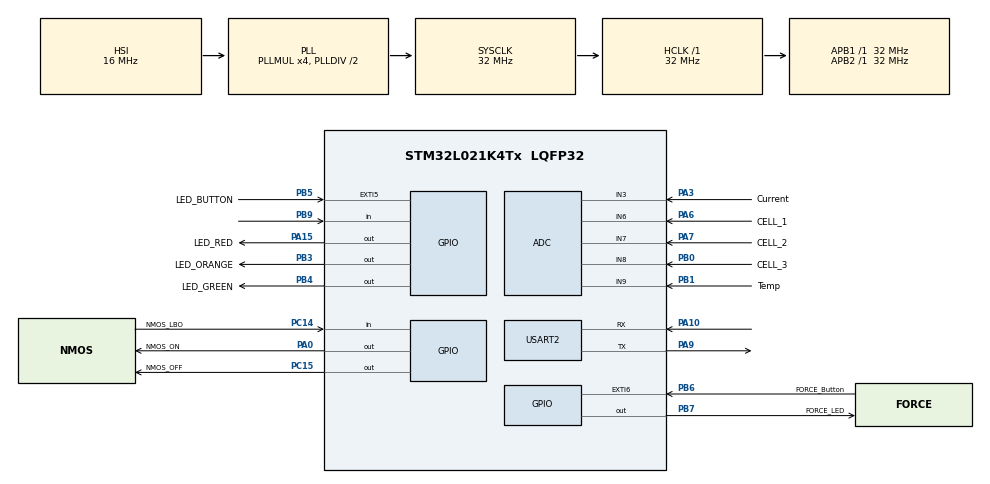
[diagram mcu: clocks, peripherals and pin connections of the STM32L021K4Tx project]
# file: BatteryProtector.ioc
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ADC.ContinuousConvMode=ENABLE
ADC.DMAContinuousRequests=ENABLE
ADC.SamplingTime=ADC_SAMPLETIME_39CYCLES_5
Dma.ADC.0.Direction=DMA_PERIPH_TO_MEMORY
Dma.ADC.0.Instance=DMA1_Channel1
Dma.ADC.0.MemDataAlignment=DMA_MDATAALIGN_WORD
Dma.ADC.0.MemInc=DMA_MINC_ENABLE
Dma.ADC.0.Mode=DMA_CIRCULAR
Dma.ADC.0.PeriphDataAlignment=DMA_PDATAALIGN_WORD
Dma.ADC.0.PeriphInc=DMA_PINC_DISABLE
Dma.ADC.0.Priority=DMA_PRIORITY_LOW
Dma.Request0=ADC
Mcu.Family=STM32L0
Mcu.Name=STM32L021K4Tx
Mcu.Package=LQFP32
NVIC.DMA1_Channel1_IRQn=true\:0\:0\:false\:false\:true\:false\:true
NVIC.EXTI4_15_IRQn=true\:0\:0\:false\:false\:true\:true\:true
NVIC.USART2_IRQn=true\:0\:0\:false\:false\:true\:true\:true
PA0-CK_IN.GPIO_Label=NMOS_ON
PA0-CK_IN.GPIO_ModeDefaultOutputPP=GPIO_MODE_OUTPUT_OD
PA0-CK_IN.Signal=GPIO_Output
PA10.Mode=Asynchronous
PA10.Signal=USART2_RX
PA13.Mode=Serial_Wire
PA13.Signal=SYS_SWDIO
PA14.Mode=Serial_Wire
PA14.Signal=SYS_SWCLK
PA15.GPIO_Label=LED_RED
PA15.Signal=GPIO_Output
PA3.GPIO_Label=Current
PA3.Mode=IN3
PA3.Signal=ADC_IN3
PA6.GPIO_Label=CELL_1
PA6.Mode=IN6
PA6.Signal=ADC_IN6
PA7.GPIO_Label=CELL_2
PA7.Mode=IN7
PA7.Signal=ADC_IN7
PA9.Mode=Asynchronous
PA9.Signal=USART2_TX
PB0.GPIO_Label=CELL_3
PB0.Mode=IN8
PB0.Signal=ADC_IN8
PB1.GPIO_Label=Temp
PB1.Mode=IN9
PB1.Signal=ADC_IN9
PB3.GPIO_Label=LED_ORANGE
PB3.Signal=GPIO_Output
PB4.GPIO_Label=LED_GREEN
PB4.Signal=GPIO_Output
PB5.GPIO_Label=LED_BUTTON
PB5.GPIO_ModeDefaultEXTI=GPIO_MODE_IT_RISING_FALLING
PB5.Signal=GPXTI5
PB6.GPIO_Label=FORCE_Button
PB6.GPIO_ModeDefaultEXTI=GPIO_MODE_IT_RISING_FALLING
PB6.Signal=GPXTI6
PB7.GPIO_Label=FORCE_LED
PB7.Signal=GPIO_Output
PB9-BOOT0.Signal=GPIO_Input
PC14-OSC32_IN.GPIO_Label=NMOS_LBO
PC14-OSC32_IN.GPIO_PuPd=GPIO_PULLUP
PC14-OSC32_IN.Signal=GPIO_Input
PC15-OSC32_OUT.GPIO_Label=NMOS_OFF
PC15-OSC32_OUT.GPIO_ModeDefaultOutputPP=GPIO_MODE_OUTPUT_OD
PC15-OSC32_OUT.Signal=GPIO_Output
ProjectManager.HeapSize=0x200
ProjectManager.StackSize=0x400
ProjectManager.TargetToolchain=SW4STM32
RCC.AHBFreq_Value=32000000
RCC.APB1Freq_Value=32000000
RCC.APB1TimFreq_Value=32000000
RCC.APB2Freq_Value=32000000
RCC.APB2TimFreq_Value=32000000
RCC.HCLKFreq_Value=32000000
RCC.HSE_VALUE=8000000
RCC.HSI16_VALUE=16000000
RCC.HSI_VALUE=16000000
RCC.LSE_VALUE=32768
RCC.MSI_VALUE=2097000
RCC.PLLMUL=RCC_PLLMUL_4
RCC.SYSCLKFreq_VALUE=32000000
RCC.SYSCLKSource=RCC_SYSCLKSOURCE_PLLCLK
RCC.VCOOutputFreq_Value=64000000
USART2.VirtualMode-Asynchronous=VM_ASYNC
board=custom

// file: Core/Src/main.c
/* USER CODE BEGIN Header */
/**
  ******************************************************************************
  * @file           : main.c
  * @brief          : Main program body
  ******************************************************************************
  * @attention
  *
  * <h2><center>&copy; Copyright (c) 2021 STMicroelectronics.
  * All rights reserved.</center></h2>
  *
  * This software component is licensed by ST under BSD 3-Clause license,
  * the "License"; You may not use this file except in compliance with the
  * License. You may obtain a copy of the License at:
  *                        opensource.org/licenses/BSD-3-Clause
  *
  ******************************************************************************
  */
/* USER CODE END Header */
#include "main.h"

/* USER CODE BEGIN Includes */
#include "batProtect.h"
/* USER CODE END Includes */

ADC_HandleTypeDef hadc;
DMA_HandleTypeDef hdma_adc;

UART_HandleTypeDef huart2;

void SystemClock_Config(void);
static void MX_GPIO_Init(void);
static void MX_DMA_Init(void);
static void MX_ADC_Init(void);
static void MX_USART2_UART_Init(void);
/* USER CODE BEGIN PFP */

char rx_buff[1];
uint32_t ADCvalues[5];

/*
 * 1 = EMPTY
 * 2 = LOW
 * 3 = GOOD
 */
char BATTERY_STATE = 1;

/*
 *  0 = normal
 *  1 = Open NMOS
 */
char NMOS_SWITCH = 0;
/* USER CODE END PFP */

int main(void)
{

  /* MCU Configuration--------------------------------------------------------*/

  /* Reset of all peripherals, Initializes the Flash interface and the Systick. */
  HAL_Init();

  /* Configure the system clock */
  SystemClock_Config();

  /* Initialize all configured peripherals */
  MX_GPIO_Init();
  MX_DMA_Init();
  MX_ADC_Init();
  MX_USART2_UART_Init();
  /* USER CODE BEGIN 2 */
  HAL_GPIO_WritePin(LED_RED_GPIO_Port,LED_RED_Pin, GPIO_PIN_SET);
  HAL_GPIO_WritePin(LED_ORANGE_GPIO_Port,LED_ORANGE_Pin, GPIO_PIN_SET);
  HAL_GPIO_WritePin(LED_GREEN_GPIO_Port,LED_GREEN_Pin, GPIO_PIN_SET);

  HAL_ADC_Start_DMA(&hadc,ADCvalues, 5);

  setGate(1);
  while(1)
  {
	  debug_adc(2);
	  HAL_Delay(500);
  }
  /* USER CODE END 2 */

  /* Infinite loop */
  while (1)
  {
	Balancer();
	HAL_Delay(100);
	current();
	HAL_Delay(100);
	temperature();
	HAL_Delay(100);
  }
}

void SystemClock_Config(void)
{
  RCC_OscInitTypeDef RCC_OscInitStruct = {0};
  RCC_ClkInitTypeDef RCC_ClkInitStruct = {0};
  RCC_PeriphCLKInitTypeDef PeriphClkInit = {0};

  /** Configure the main internal regulator output voltage
  */
  __HAL_PWR_VOLTAGESCALING_CONFIG(PWR_REGULATOR_VOLTAGE_SCALE1);
  /** Initializes the RCC Oscillators according to the specified parameters
  * in the RCC_OscInitTypeDef structure.
  */
  RCC_OscInitStruct.OscillatorType = RCC_OSCILLATORTYPE_HSI;
  RCC_OscInitStruct.HSIState = RCC_HSI_ON;
  RCC_OscInitStruct.HSICalibrationValue = RCC_HSICALIBRATION_DEFAULT;
  RCC_OscInitStruct.PLL.PLLState = RCC_PLL_ON;
  RCC_OscInitStruct.PLL.PLLSource = RCC_PLLSOURCE_HSI;
  RCC_OscInitStruct.PLL.PLLMUL = RCC_PLLMUL_4;
  RCC_OscInitStruct.PLL.PLLDIV = RCC_PLLDIV_2;
  if (HAL_RCC_OscConfig(&RCC_OscInitStruct) != HAL_OK)
  {
    Error_Handler();
  }
  /** Initializes the CPU, AHB and APB buses clocks
  */
  RCC_ClkInitStruct.ClockType = RCC_CLOCKTYPE_HCLK|RCC_CLOCKTYPE_SYSCLK
                              |RCC_CLOCKTYPE_PCLK1|RCC_CLOCKTYPE_PCLK2;
  RCC_ClkInitStruct.SYSCLKSource = RCC_SYSCLKSOURCE_PLLCLK;
  RCC_ClkInitStruct.AHBCLKDivider = RCC_SYSCLK_DIV1;
  RCC_ClkInitStruct.APB1CLKDivider = RCC_HCLK_DIV1;
  RCC_ClkInitStruct.APB2CLKDivider = RCC_HCLK_DIV1;

  if (HAL_RCC_ClockConfig(&RCC_ClkInitStruct, FLASH_LATENCY_1) != HAL_OK)
  {
    Error_Handler();
  }
  PeriphClkInit.PeriphClockSelection = RCC_PERIPHCLK_USART2;
  PeriphClkInit.Usart2ClockSelection = RCC_USART2CLKSOURCE_PCLK1;
  if (HAL_RCCEx_PeriphCLKConfig(&PeriphClkInit) != HAL_OK)
  {
    Error_Handler();
  }
}

static void MX_ADC_Init(void)
{

  ADC_ChannelConfTypeDef sConfig = {0};

  /** Configure the global features of the ADC (Clock, Resolution, Data Alignment and number of conversion)
  */
  hadc.Instance = ADC1;
  hadc.Init.OversamplingMode = DISABLE;
  hadc.Init.ClockPrescaler = ADC_CLOCK_SYNC_PCLK_DIV2;
  hadc.Init.Resolution = ADC_RESOLUTION_12B;
  hadc.Init.SamplingTime = ADC_SAMPLETIME_39CYCLES_5;
  hadc.Init.ScanConvMode = ADC_SCAN_DIRECTION_FORWARD;
  hadc.Init.DataAlign = ADC_DATAALIGN_RIGHT;
  hadc.Init.ContinuousConvMode = ENABLE;
  hadc.Init.DiscontinuousConvMode = DISABLE;
  hadc.Init.ExternalTrigConvEdge = ADC_EXTERNALTRIGCONVEDGE_NONE;
  hadc.Init.ExternalTrigConv = ADC_SOFTWARE_START;
  hadc.Init.DMAContinuousRequests = ENABLE;
  hadc.Init.EOCSelection = ADC_EOC_SINGLE_CONV;
  hadc.Init.Overrun = ADC_OVR_DATA_PRESERVED;
  hadc.Init.LowPowerAutoWait = DISABLE;
  hadc.Init.LowPowerFrequencyMode = DISABLE;
  hadc.Init.LowPowerAutoPowerOff = DISABLE;
  if (HAL_ADC_Init(&hadc) != HAL_OK)
  {
    Error_Handler();
  }
  /** Configure for the selected ADC regular channel to be converted.
  */
  sConfig.Channel = ADC_CHANNEL_3;
  sConfig.Rank = ADC_RANK_CHANNEL_NUMBER;
  if (HAL_ADC_ConfigChannel(&hadc, &sConfig) != HAL_OK)
  {
    Error_Handler();
  }
  /** Configure for the selected ADC regular channel to be converted.
  */
  sConfig.Channel = ADC_CHANNEL_6;
  if (HAL_ADC_ConfigChannel(&hadc, &sConfig) != HAL_OK)
  {
    Error_Handler();
  }
  /** Configure for the selected ADC regular channel to be converted.
  */
  sConfig.Channel = ADC_CHANNEL_7;
  if (HAL_ADC_ConfigChannel(&hadc, &sConfig) != HAL_OK)
  {
    Error_Handler();
  }
  /** Configure for the selected ADC regular channel to be converted.
  */
  sConfig.Channel = ADC_CHANNEL_8;
  if (HAL_ADC_ConfigChannel(&hadc, &sConfig) != HAL_OK)
  {
    Error_Handler();
  }
  /** Configure for the selected ADC regular channel to be converted.
  */
  sConfig.Channel = ADC_CHANNEL_9;
  if (HAL_ADC_ConfigChannel(&hadc, &sConfig) != HAL_OK)
  {
    Error_Handler();
  }

}

static void MX_USART2_UART_Init(void)
{

  huart2.Instance = USART2;
  huart2.Init.BaudRate = 115200;
  huart2.Init.WordLength = UART_WORDLENGTH_8B;
  huart2.Init.StopBits = UART_STOPBITS_1;
  huart2.Init.Parity = UART_PARITY_NONE;
  huart2.Init.Mode = UART_MODE_TX_RX;
  huart2.Init.HwFlowCtl = UART_HWCONTROL_NONE;
  huart2.Init.OverSampling = UART_OVERSAMPLING_16;
  huart2.Init.OneBitSampling = UART_ONE_BIT_SAMPLE_DISABLE;
  huart2.AdvancedInit.AdvFeatureInit = UART_ADVFEATURE_NO_INIT;
  if (HAL_UART_Init(&huart2) != HAL_OK)
  {
    Error_Handler();
  }

}

static void MX_DMA_Init(void)
{

  /* DMA controller clock enable */
  __HAL_RCC_DMA1_CLK_ENABLE();

  /* DMA interrupt init */
  /* DMA1_Channel1_IRQn interrupt configuration */
  HAL_NVIC_SetPriority(DMA1_Channel1_IRQn, 0, 0);
  HAL_NVIC_EnableIRQ(DMA1_Channel1_IRQn);

}

static void MX_GPIO_Init(void)
{
  GPIO_InitTypeDef GPIO_InitStruct = {0};

  /* GPIO Ports Clock Enable */
  __HAL_RCC_GPIOC_CLK_ENABLE();
  __HAL_RCC_GPIOA_CLK_ENABLE();
  __HAL_RCC_GPIOB_CLK_ENABLE();

  /*Configure GPIO pin Output Level */
  HAL_GPIO_WritePin(NMOS_OFF_GPIO_Port, NMOS_OFF_Pin, GPIO_PIN_RESET);

  /*Configure GPIO pin Output Level */
  HAL_GPIO_WritePin(GPIOA, NMOS_ON_Pin|LED_RED_Pin, GPIO_PIN_RESET);

  /*Configure GPIO pin Output Level */
  HAL_GPIO_WritePin(GPIOB, LED_ORANGE_Pin|LED_GREEN_Pin|FORCE_LED_Pin, GPIO_PIN_RESET);

  /*Configure GPIO pin : NMOS_LBO_Pin */
  GPIO_InitStruct.Pin = NMOS_LBO_Pin;
  GPIO_InitStruct.Mode = GPIO_MODE_INPUT;
  GPIO_InitStruct.Pull = GPIO_PULLUP;
  HAL_GPIO_Init(NMOS_LBO_GPIO_Port, &GPIO_InitStruct);

  /*Configure GPIO pin : NMOS_OFF_Pin */
  GPIO_InitStruct.Pin = NMOS_OFF_Pin;
  GPIO_InitStruct.Mode = GPIO_MODE_OUTPUT_OD;
  GPIO_InitStruct.Pull = GPIO_NOPULL;
  GPIO_InitStruct.Speed = GPIO_SPEED_FREQ_LOW;
  HAL_GPIO_Init(NMOS_OFF_GPIO_Port, &GPIO_InitStruct);

  /*Configure GPIO pin : NMOS_ON_Pin */
  GPIO_InitStruct.Pin = NMOS_ON_Pin;
  GPIO_InitStruct.Mode = GPIO_MODE_OUTPUT_OD;
  GPIO_InitStruct.Pull = GPIO_NOPULL;
  GPIO_InitStruct.Speed = GPIO_SPEED_FREQ_LOW;
  HAL_GPIO_Init(NMOS_ON_GPIO_Port, &GPIO_InitStruct);

  /*Configure GPIO pin : LED_RED_Pin */
  GPIO_InitStruct.Pin = LED_RED_Pin;
  GPIO_InitStruct.Mode = GPIO_MODE_OUTPUT_PP;
  GPIO_InitStruct.Pull = GPIO_NOPULL;
  GPIO_InitStruct.Speed = GPIO_SPEED_FREQ_LOW;
  HAL_GPIO_Init(LED_RED_GPIO_Port, &GPIO_InitStruct);

  /*Configure GPIO pins : LED_ORANGE_Pin LED_GREEN_Pin FORCE_LED_Pin */
  GPIO_InitStruct.Pin = LED_ORANGE_Pin|LED_GREEN_Pin|FORCE_LED_Pin;
  GPIO_InitStruct.Mode = GPIO_MODE_OUTPUT_PP;
  GPIO_InitStruct.Pull = GPIO_NOPULL;
  GPIO_InitStruct.Speed = GPIO_SPEED_FREQ_LOW;
  HAL_GPIO_Init(GPIOB, &GPIO_InitStruct);

  /*Configure GPIO pins : LED_BUTTON_Pin FORCE_Button_Pin */
  GPIO_InitStruct.Pin = LED_BUTTON_Pin|FORCE_Button_Pin;
  GPIO_InitStruct.Mode = GPIO_MODE_IT_RISING_FALLING;
  GPIO_InitStruct.Pull = GPIO_NOPULL;
  HAL_GPIO_Init(GPIOB, &GPIO_InitStruct);

  /*Configure GPIO pin : PB9 */
  GPIO_InitStruct.Pin = GPIO_PIN_9;
  GPIO_InitStruct.Mode = GPIO_MODE_INPUT;
  GPIO_InitStruct.Pull = GPIO_NOPULL;
  HAL_GPIO_Init(GPIOB, &GPIO_InitStruct);

  /* EXTI interrupt init*/
  HAL_NVIC_SetPriority(EXTI4_15_IRQn, 0, 0);
  HAL_NVIC_EnableIRQ(EXTI4_15_IRQn);

}

/* USER CODE BEGIN 4 */
void HAL_GPIO_EXTI_Callback(uint16_t GPIO_Pin)
{
	if(GPIO_Pin == FORCE_Button_Pin)
	{
		if(HAL_GPIO_ReadPin(FORCE_Button_GPIO_Port,FORCE_Button_Pin))
		{
			NMOS_SWITCH = 1;
			setGate(NMOS_SWITCH);
			HAL_GPIO_WritePin(FORCE_LED_GPIO_Port,FORCE_LED_Pin,GPIO_PIN_SET);

		}
		else
		{
			NMOS_SWITCH = 0;
			setGate(NMOS_SWITCH);
			HAL_GPIO_WritePin(FORCE_LED_GPIO_Port,FORCE_LED_Pin,GPIO_PIN_RESET);
		}
	}
	else if(GPIO_Pin == LED_BUTTON_Pin)
	{
		if(HAL_GPIO_ReadPin(LED_BUTTON_GPIO_Port,LED_BUTTON_Pin))
		{
			LED_Feedback(BATTERY_STATE);
		}
		else
		{
			LED_Feedback(0);
		}
	}
}

void HAL_UART_RxCpltCallback(UART_HandleTypeDef *huart)
{
	if(huart->Instance==USART2)				//COM
	{
		//
		HAL_UART_Receive_IT(&huart2,(uint8_t*)rx_buff,1);
	}
}

void HAL_ADC_ConvCpltCallback( ADC_HandleTypeDef * test)
{
	HAL_ADC_Start_DMA(&hadc,ADCvalues, 5);
	//HAL_ADC_Start(&hadc1);
}
/* USER CODE END 4 */

void Error_Handler(void)
{
  __disable_irq();
  while (1)
  {
  }
}

/************************ (C) COPYRIGHT STMicroelectronics *****END OF FILE****/
